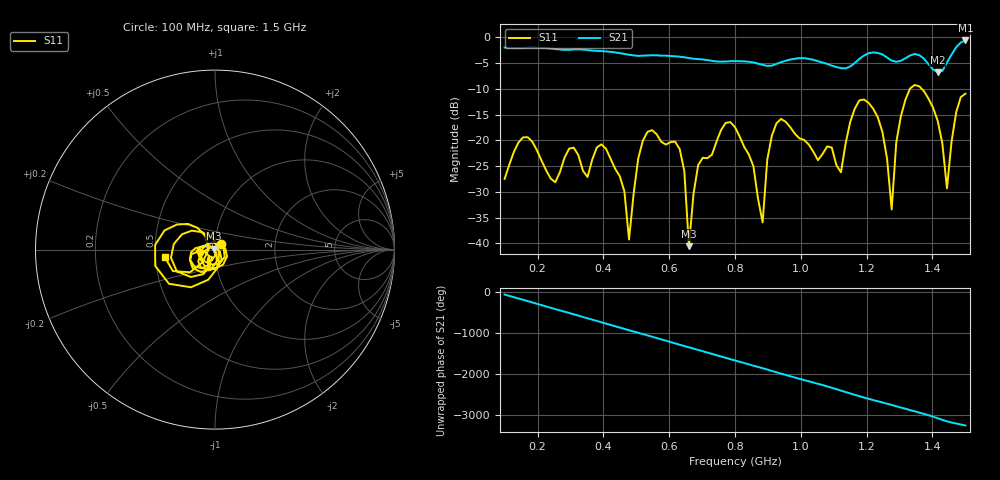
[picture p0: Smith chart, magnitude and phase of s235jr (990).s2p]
! NanoVNA-App
! Date: 2025-09-25 15:11:52
! Start: 100MHz Stop: 1,5GHz Points: 101
! S-Parameter data: F S11 S21 S12 S22
# Hz S RI R 50
!  Frequency  S11_Real  S11_Imag  S21_Real  S21_Imag  S12_Real  S12_Imag  S22_Real  S22_Imag
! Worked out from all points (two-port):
!   101 points, 100 MHz to 1.5 GHz, reference 50 ohm
!   highest |S21| = -0.59 dB at 1.5 GHz (marker M1); lowest = -6.8 dB at 1.416 GHz (marker M2)
!   |S21| within 3 dB of the highest: start of sweep to 600.2 MHz; 1.191 GHz to 1.255 GHz (63.92 MHz wide, 5.23 % of centre) (the widest 2 of 4)
!   lowest |S11| = -40.5 dB at 660 MHz (marker M3), VSWR 1.02, Z = 49.2 + j0.545 ohm
!   |S11| at or under -10 dB: start of sweep to 1.331 GHz; 1.367 GHz to end of sweep
!   S12 and S22 are empty: the file has one direction only
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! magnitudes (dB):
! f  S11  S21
! 100 MHz  -27.5  -2.0
! 156 MHz  -19.4  -2.0
! 338 MHz  -25.9  -2.4
! 408 MHz  -21.6  -2.7
! 478 MHz  -39.2  -3.4
! 520 MHz  -20.0  -3.5
! 576 MHz  -20.3  -3.5
! 632 MHz  -21.7  -3.7
! 660 MHz  -40.5  -4.0
! 688 MHz  -24.8  -4.2
! 800 MHz  -17.4  -4.6
! 884 MHz  -35.9  -5.3
! 926 MHz  -16.7  -5.1
! 1.038 GHz  -22.2  -4.4
! 1.122 GHz  -26.2  -6.0
! 1.206 GHz  -12.7  -3.1
! 1.276 GHz  -33.4  -4.5
! 1.29 GHz  -20.4  -4.7
! 1.332 GHz  -9.9  -3.5
! 1.416 GHz  -16.2  -6.8
! 1.444 GHz  -29.3  -4.9
! 1.5 GHz  -10.9  -0.6
